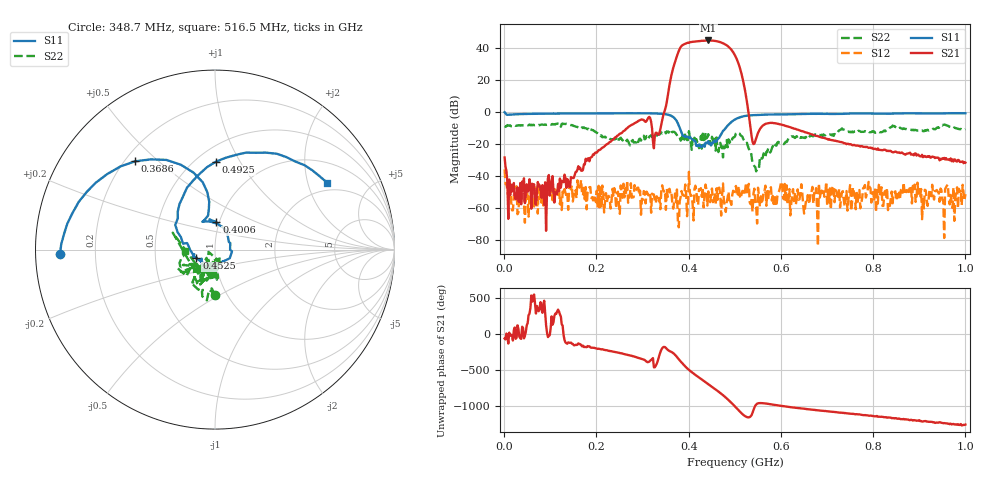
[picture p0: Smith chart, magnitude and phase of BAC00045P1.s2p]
!measured: 2026-10-27T15:27:17
!cal_instance: BBtestOct27
!cal_created: 2026-10-27T14:45
!cal_file: BBtesting.cal
!port1_delay_ps: -58.63
!port2_delay_ps: -59.31
!host: dhcp-10-250-247-203.harvard.edu
! Created with skrf 2.1.0 (http://scikit-rf.org).
# Hz S RI R 50.0
!freq ReS11 ImS11 ReS21 ImS21 ReS12 ImS12 ReS22 ImS22
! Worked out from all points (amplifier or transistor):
!   501 points, 1 MHz to 1 GHz, reference 50 ohm
!   highest |S21| = 44.9 dB at 442.6 MHz (marker M1)
!   |S21| within 3 dB of that: 386.4 MHz to 482.2 MHz (95.8 MHz wide, 22.1 % of centre)
!   unconditionally stable (mu >= 1): start of sweep to 400.2 MHz; 437.1 MHz to 474.2 MHz; 474.6 MHz to end of sweep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
!   at 166.8 MHz: K = 721.21, MAG = -28.7 dB, |S12| = -42.5 dB
!   at 500.5 MHz: K = 1.67, MAG = 37.6 dB, |S12| = -49.2 dB
!   at 1 GHz: K = 949.24, MAG = -22.9 dB, |S12| = -51.4 dB
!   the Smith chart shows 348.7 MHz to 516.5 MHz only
!   S11 on the Smith chart (normalised r, x): 348.7 MHz: 0.07, -0.01; 368.6 MHz: 0.24, +0.42; 400.6 MHz: 0.97, +0.30; 452.5 MHz: 0.81, -0.08; 492.5 MHz: 0.62, +0.79; 516.5 MHz: 1.69, +2.67
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1000000  -0.3739 0.9187  0.016 -0.0343  -0.00114 0.016  0.3637 -0.0074
1.68832e8  0.497 -0.7609  -0.0144 -0.00152  -0.00279 0.000969  -0.0447 -0.329
3.34666e8  -0.8304 -0.3475  0.1839 0.0683  0.0015 0.000384  0.0371 -0.2029
3.48652e8  -0.8638 -0.0249  -1.179 0.0874  -0.00203 -0.00287  0.000994 -0.2537
3.68632e8  -0.4451 0.492  4.85 30.4  0.000565 0.00154  -0.0961 -0.2201
3.76624e8  -0.1197 0.429  64.73 24.94  1.94e-05 0.000385  -0.1148 -0.1215
3.84616e8  -0.0343 0.2256  93.23 -73.41  0.000254 -0.00336  -0.1038 -0.0933
3.92608e8  -0.0642 0.1599  -8.549 -138.7  -0.000427 -0.00537  -0.1903 -0.1242
4.006e8  0.00765 0.1532  -111.8 -96.59  -0.00764 -0.0111  -0.2354 0.0943
4.1059e8  0.0448 0.1241  -157.6 33.71  0.000376 0.000143  -0.0701 -0.0904
4.24576e8  0.0821 -0.0485  -35.06 167.1  0.0033 -0.00143  0.0322 -0.082
4.32568e8  0.00678 -0.0952  70.29 157.7  0.000783 -0.000654  -0.0278 -0.1298
4.42558e8  -0.079 -0.0927  164.3 64.12  0.00326 -0.000402  -0.0799 -0.1872
4.52548e8  -0.104 -0.0489  158 -72.83  0.000922 0.00118  -0.0506 -0.1215
4.64536e8  -0.1476 0.021  21.39 -160.5  0.00253 -0.00333  0.0261 -0.0493
4.76524e8  -0.207 0.1741  -113.2 -81.5  0.00149 0.0003  0.0356 -0.0761
4.92508e8  0.00315 0.4889  -48.54 77.03  -0.000804 -0.000942  -0.042 -0.1012
5.005e8  0.2261 0.5394  20.36 56.42  0.00274 -0.00212  -0.1379 -0.1058
5.16484e8  0.626 0.372  10.01 -7.081  0.00331 -0.000722  -0.1698 -0.00948
6.68332e8  0.0632 -0.8797  0.1809 0.0831  -0.00321 -0.00321  0.0328 -0.1739
8.34166e8  -0.5926 -0.6724  0.00671 -0.0595  0.000111 0.0012  -0.1762 -0.2361
1e9  -0.8865 -0.2599  -0.0262 0.000889  -0.00255 0.000859  -0.2447 -0.1615
